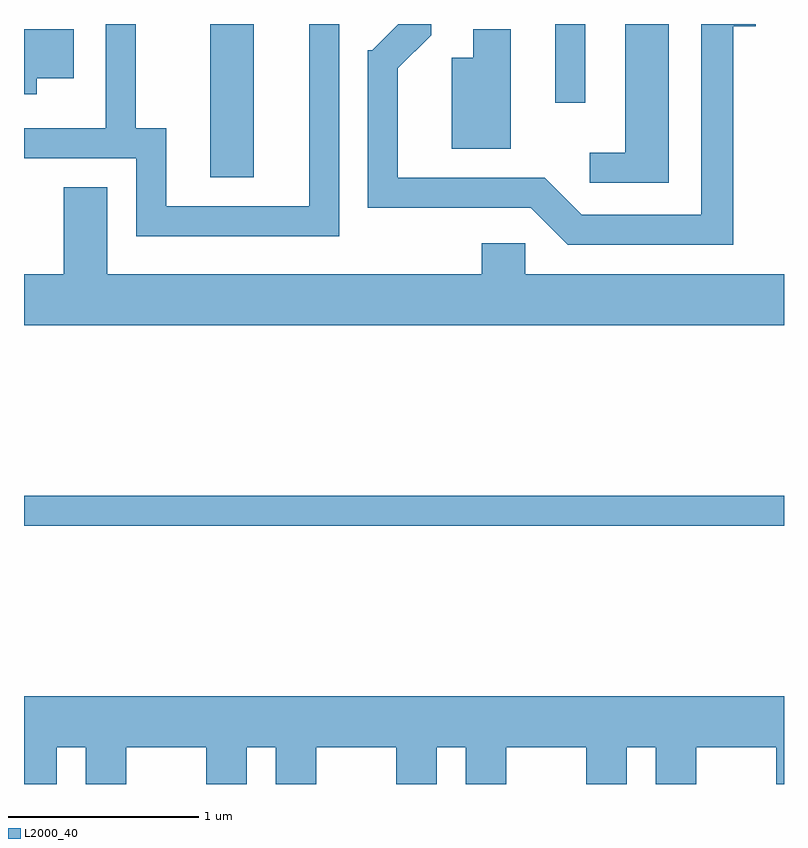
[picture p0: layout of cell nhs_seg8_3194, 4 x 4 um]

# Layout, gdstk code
import gdstk
lib = gdstk.Library(unit=1e-6, precision=1e-09)
def R(c, l, rs):  # rectangles x0, y0, x1, y1
    for r in rs: c.add(gdstk.rectangle(r[:2], r[2:], *l))
def P(c, l, *ps):  # polygons
    for p in ps: c.add(gdstk.Polygon(p, *l))
L2000_40 = (2000, 40)

nhs_seg8_3194 = lib.new_cell('nhs_seg8_3194')
R(nhs_seg8_3194, L2000_40, [(279.611,1939.701,283.611,1939.859), (280.591,1941.536,280.819,1942.342), (282.406,1941.928,282.564,1942.342)])
P(nhs_seg8_3194, L2000_40, [(283.004,1942.342),(282.776,1942.342),(282.776,1941.664),(282.588,1941.664),(282.588,1941.506),(283.004,1941.506)],
  [(281.269,1942.342),(281.111,1942.342),(281.111,1941.384),(280.359,1941.384),(280.359,1941.794),(280.199,1941.794),(280.199,1942.342),(280.041,1942.342),(280.041,1941.794),(279.611,1941.794),(279.611,1941.636),(280.201,1941.636),(280.201,1941.226),(281.269,1941.226)],
  [(283.344,1942.331),(283.463,1942.331),(283.463,1942.342),(283.176,1942.342),(283.176,1941.339),(282.547,1941.339),(282.352,1941.534),(281.579,1941.534),(281.579,1942.109),(281.754,1942.284),(281.754,1942.342),(281.581,1942.342),(281.444,1942.204),(281.421,1942.204),(281.421,1941.376),(282.279,1941.376),(282.474,1941.181),(283.344,1941.181)],
  [(279.679,1942.056),(279.874,1942.056),(279.874,1942.314),(279.611,1942.314),(279.611,1941.971),(279.679,1941.971)],
  [(282.174,1942.314),(281.976,1942.314),(281.976,1942.164),(281.861,1942.164),(281.861,1941.686),(282.174,1941.686)],
  [(283.611,1941.024),(282.249,1941.024),(282.249,1941.189),(282.021,1941.189),(282.021,1941.024),(280.049,1941.024),(280.049,1941.484),(279.821,1941.484),(279.821,1941.024),(279.611,1941.024),(279.611,1940.756),(283.611,1940.756)],
  [(279.784,1938.536),(279.936,1938.536),(279.936,1938.342),(280.149,1938.342),(280.149,1938.536),(280.571,1938.536),(280.571,1938.342),(280.784,1938.342),(280.784,1938.536),(280.936,1938.536),(280.936,1938.342),(281.149,1938.342),(281.149,1938.536),(281.571,1938.536),(281.571,1938.342),(281.784,1938.342),(281.784,1938.536),(281.936,1938.536),(281.936,1938.342),(282.149,1938.342),(282.149,1938.536),(282.571,1938.536),(282.571,1938.342),(282.784,1938.342),(282.784,1938.536),(282.936,1938.536),(282.936,1938.342),(283.149,1938.342),(283.149,1938.536),(283.571,1938.536),(283.571,1938.342),(283.611,1938.342),(283.611,1938.804),(279.611,1938.804),(279.611,1938.342),(279.784,1938.342)])

lib.write_gds('nhs_seg8_3194.gds')
